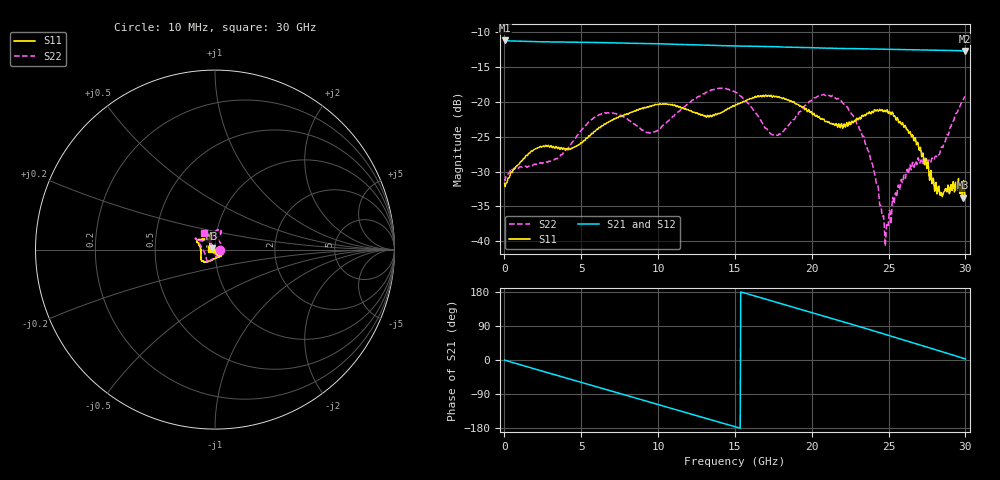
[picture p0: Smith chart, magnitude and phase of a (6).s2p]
! Device:  ADRF5700
! Description: 2 dB LSB, 5-Bit, Silicon Digital Attenuator, 100 MHz to 22 GHz
! Frequency:  10MHz -  30.00 GHz
! Ports:
!  RF1 = Port 1
!  RF2 = Port 2
! VDD  =  +3.30 Volts
! VSS  =  -3.30 Volts
! State:  10.00 dB attenuation
! Data:  Data was collected using an calibrated 4 port network analyzer
!  The reference plane is the edge of the device.
! Notes: Analog Devices supplies this data as a sample of measured data
!  for this product.  Your particular data for this product may vary.
!  Data was taken at 25 degrees C.
!  Analog Devices reserves the right to change this data at anytime.
# GHz S  dB  R 50
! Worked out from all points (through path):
!   801 points, 10 MHz to 30 GHz, reference 50 ohm
!   highest |S21| = -11.14 dB at 10 MHz (marker M1); lowest = -12.7 dB at 29.96 GHz (marker M2)
!   group delay of S21, straight-line fit = 32.8 ps
!   lowest |S11| = -33.7 dB at 29.81 GHz (marker M3), VSWR 1.04, Z = 48.1 + j0.722 ohm
!   |S11| at or under -10 dB: start of sweep to end of sweep
!   |S22| runs from -40.7 to -18.0 dB; largest |S21 - S12| = 0.0029
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0.01  -31.72 -18.2  -11.14 -0.0  -11.15 0.2  -31.05 -5.3
2.0343  -26.70 -34.7  -11.32 -24.4  -11.28 -24.3  -28.92 -35.9
3.5338  -26.49 -55.9  -11.37 -41.7  -11.33 -41.6  -27.87 -77.4
5.0333  -25.86 -93.1  -11.40 -59.2  -11.37 -59.2  -23.98 -111.9
6.8327  -22.77 -116.9  -11.48 -80.4  -11.44 -80.3  -21.54 -120.7
9.2319  -20.82 -133.5  -11.59 -108.5  -11.55 -108.3  -24.36 -150.3
10.0192  -20.34 -138.6  -11.62 -117.8  -11.58 -117.6  -23.95 -173.9
13.2056  -21.93 -174.1  -11.82 -155.1  -11.78 -154.8  -18.51 150.3
15.005  -20.48 161.5  -11.94 -176.0  -11.90 -175.7  -18.56 151.4
17.6291  -19.22 150.5  -12.04 153.1  -12.00 153.5  -24.81 109.3
20.0283  -21.69 137.9  -12.18 124.7  -12.15 125.1  -19.66 70.5
21.3404  -23.21 121.4  -12.25 109.2  -12.23 109.7  -19.05 81.5
22.6899  -23.00 104.9  -12.32 93.1  -12.27 93.6  -21.95 100.4
23.8521  -21.68 98.9  -12.36 79.0  -12.32 79.5  -28.54 124.0
24.7143  -21.24 100.4  -12.40 68.5  -12.36 69.1  -37.21 -166.5
25.0142  -21.62 102.8  -12.42 64.9  -12.38 65.4  -36.67 -134.3
25.389  -21.97 107.0  -12.43 60.4  -12.39 60.9  -33.97 -99.6
26.2887  -24.31 118.0  -12.47 49.3  -12.43 49.8  -30.36 -61.1
28.3131  -32.89 141.2  -12.56 24.2  -12.52 24.7  -27.51 38.0
29.8126  -33.74 158.6  -12.64 5.1  -12.60 5.6  -19.79 117.5
29.9625  -33.48 174.0  -12.67 3.1  -12.61 3.7  -19.24 122.8
30  -33.72 164.3  -12.67 2.7  -12.62 3.3  -19.20 124.4
